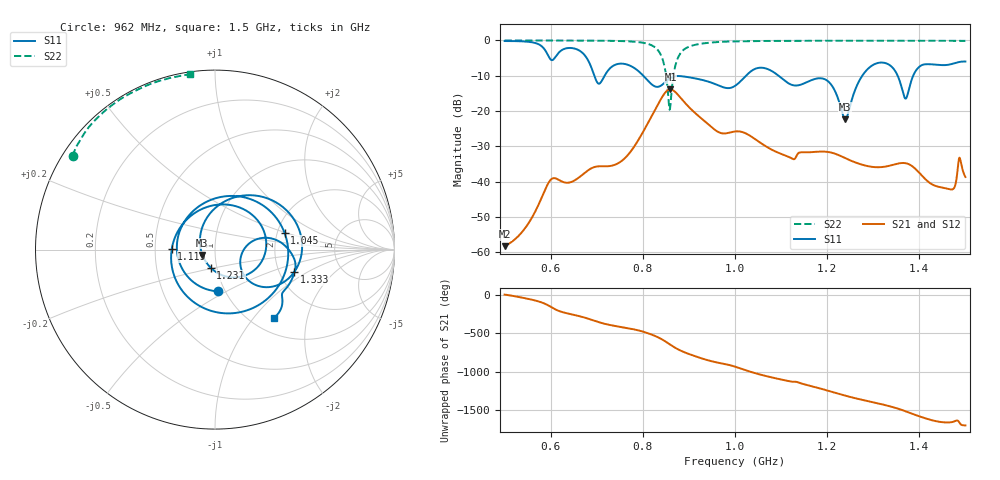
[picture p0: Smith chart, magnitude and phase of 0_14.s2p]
! TOUCHSTONE file generated by CST MICROWAVE STUDIO
! Date and time: Sat Oct 24 10:43:37 2020
! Project name: Scenario_1_Planar_Body_Tissue_Center.cst
! Parameters = {hfat=3; hmuscle=50; hskin=1.5; hgap=25; Wtissue=700; Ltissue=700; L_HA=400; MT=2.54; Rad_Dielectric=30; Rad_Lower=7.3; Rad_Upper=30; a_HA=580; a_WG=246; b_HA=500; b_WG=121; c_HA=0; c_WG=187; d_feed=85; dx1=398.16; h_feed=15; h_lower=18; h_upper=40}
! Header version: 2018
! Port assignment regex: !\s*Touchstone port\s*([0-9]+)\s*=\s*(CST MWS port|CST DS port)\s*([0-9]+|Zmin|Zmax)\s*\(\"(.*)\"\)(\s*mode\s*([0-9]+))?.*
! Touchstone port assignment:
! Touchstone port 1 = CST MWS port 1 ("")
! Touchstone port 2 = CST MWS port 2 ("")
# GHz S DB R 50
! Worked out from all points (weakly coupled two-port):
!   1003 points, 500 MHz to 1.5 GHz, reference 50 ohm
!   highest |S21| = -13.88 dB at 860 MHz (marker M1); lowest = -58.3 dB at 500 MHz (marker M2)
!   lowest |S11| = -22.4 dB at 1.239 GHz (marker M3), VSWR 1.16, Z = 43.4 - j2.55 ohm
!   |S11| at or under -10 dB: 800.9 MHz to 1.024 GHz (222.9 MHz wide, 24.4 % of centre); 1.094 GHz to 1.276 GHz (181.8 MHz wide, 15.3 % of centre); 1.353 GHz to 1.387 GHz (33.67 MHz wide, 2.46 % of centre)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
!   |S22| runs from -19.6 to 0.0 dB; largest |S21 - S12| = 4.3e-05
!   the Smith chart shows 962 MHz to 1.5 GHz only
!   S11 on the Smith chart (normalised r, x): 962 MHz: 0.93, -0.46; 1.045 GHz: 2.19, +0.48; 1.119 GHz: 0.61, +0.01; 1.231 GHz: 0.93, -0.19; 1.333 GHz: 2.40, -0.77; 1.5 GHz: 1.25, -1.28
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0.5  -0.17 -121.3  -58.32 0.3  -58.32 0.3  -0.01 151.1
0.571  -0.92 -163.3  -47.30 -84.2  -47.30 -84.2  -0.01 146.3
0.667  -3.30 120.3  -38.28 72.9  -38.28 72.9  -0.04 138.4
0.692  -8.99 39.5  -36.03 26.5  -36.03 26.5  -0.06 135.8
0.714  -10.72 -97.6  -35.68 -13.9  -35.68 -13.9  -0.09 133.1
0.742  -6.80 176.7  -35.11 -49.4  -35.11 -49.4  -0.14 129.0
0.776  -7.40 104.8  -31.08 -85.0  -31.08 -85.0  -0.32 121.6
0.834  -13.12 -74.7  -17.85 163.2  -17.85 163.2  -2.97 84.5
0.86  -10.63 -178.3  -13.88 69.1  -13.88 69.1  -18.13 -84.9
0.89  -10.24 89.3  -17.49 -26.8  -17.49 -26.8  -2.51 175.8
0.962  -12.64 -85.8  -25.84 -160.7  -25.84 -160.7  -0.46 146.6
1  -12.89 143.7  -25.81 146.5  -25.81 146.5  -0.27 140.3
1.045  -7.99 13.5  -28.10 59.6  -28.10 59.6  -0.17 135.0
1.08  -8.69 -74.7  -30.99 6.6  -30.99 6.6  -0.14 131.5
1.119  -12.36 179.1  -33.16 -43.7  -33.15 -43.7  -0.11 128.1
1.167  -11.21 55.4  -31.66 -108.2  -31.66 -108.2  -0.10 124.3
1.231  -19.66 -103.3  -32.86 144.5  -32.86 144.5  -0.09 119.3
1.239  -22.36 -157.4  -33.35 131.2  -33.35 131.2  -0.09 118.7
1.333  -6.78 -16.1  -35.59 -2.3  -35.59 -2.3  -0.08 111.6
1.334  -6.86 -17.4  -35.56 -3.9  -35.56 -3.9  -0.08 111.6
1.37  -16.51 -15.3  -34.80 -71.4  -34.80 -71.4  -0.09 108.8
1.5  -5.98 -49.3  -38.71 104.6  -38.71 104.6  -0.12 98.0
